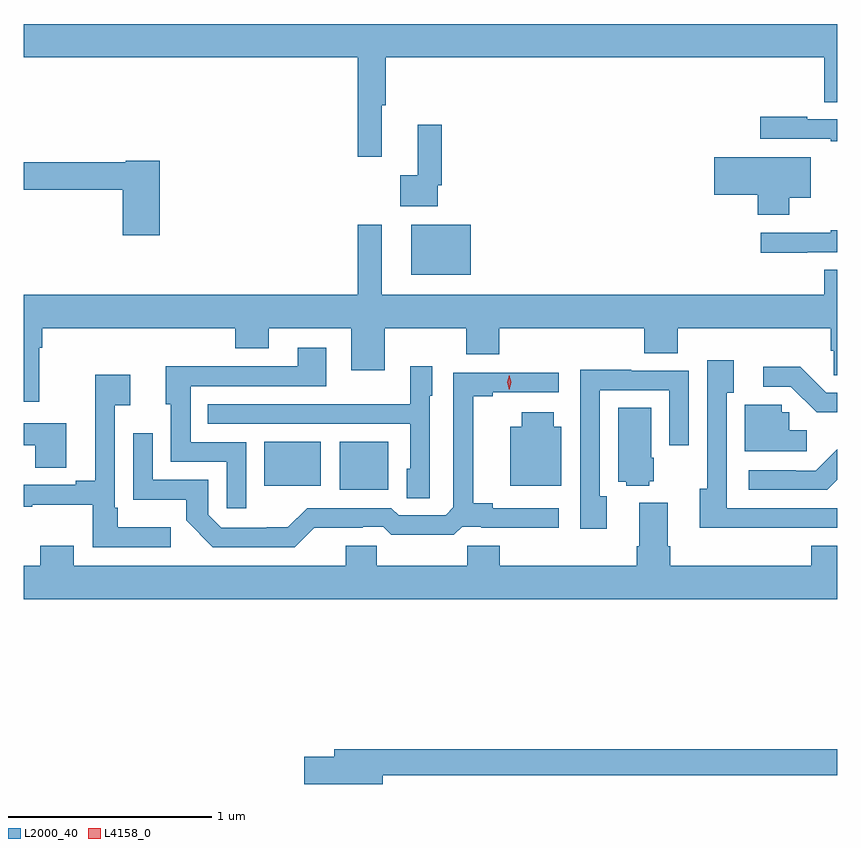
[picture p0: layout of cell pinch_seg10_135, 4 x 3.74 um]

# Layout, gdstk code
import gdstk
lib = gdstk.Library(unit=1e-6, precision=1e-09)
def R(c, l, rs):  # rectangles x0, y0, x1, y1
    for r in rs: c.add(gdstk.rectangle(r[:2], r[2:], *l))
def P(c, l, *ps):  # polygons
    for p in ps: c.add(gdstk.Polygon(p, *l))
L2000_40 = (2000, 40)
L4158_0 = (4158, 0)

pinch_seg10_135 = lib.new_cell('pinch_seg10_135')
R(pinch_seg10_135, L2000_40, [(698.534,1276.877,698.773,1277.113), (698.162,1276.898,698.44,1277.113), (698.885,1277.936,699.178,1278.181)])
P(pinch_seg10_135, L2000_40, [(698.741,1278.768),(698.759,1278.768),(698.759,1279.004),(700.916,1279.004),(700.916,1278.784),(700.98,1278.784),(700.98,1279.168),(696.98,1279.168),(696.98,1279.004),(698.623,1279.004),(698.623,1278.516),(698.741,1278.516)],
  [(700.98,1278.699),(700.832,1278.699),(700.832,1278.712),(700.602,1278.712),(700.602,1278.603),(700.949,1278.603),(700.949,1278.591),(700.98,1278.591)],
  [(699.015,1278.376),(699.035,1278.376),(699.035,1278.673),(698.918,1278.673),(698.918,1278.425),(698.832,1278.425),(698.832,1278.272),(699.015,1278.272)],
  [(700.743,1278.314),(700.849,1278.314),(700.849,1278.514),(700.605,1278.514),(700.605,1278.512),(700.374,1278.512),(700.374,1278.329),(700.589,1278.329),(700.589,1278.23),(700.743,1278.23)],
  [(697.649,1278.496),(697.482,1278.496),(697.482,1278.488),(696.98,1278.488),(696.98,1278.352),(697.466,1278.352),(697.466,1278.129),(697.649,1278.129)],
  [(698.74,1278.181),(698.623,1278.181),(698.623,1277.836),(696.98,1277.836),(696.98,1277.31),(697.057,1277.31),(697.057,1277.576),(697.07,1277.576),(697.07,1277.672),(698.021,1277.672),(698.021,1277.573),(698.185,1277.573),(698.185,1277.672),(698.591,1277.672),(698.591,1277.466),(698.755,1277.466),(698.755,1277.672),(699.155,1277.672),(699.155,1277.544),(699.319,1277.544),(699.319,1277.672),(700.031,1277.672),(700.031,1277.548),(700.196,1277.548),(700.196,1277.672),(700.949,1277.672),(700.949,1277.562),(700.963,1277.562),(700.963,1277.44),(700.98,1277.44),(700.98,1277.96),(700.916,1277.96),(700.916,1277.836),(698.74,1277.836)],
  [(700.832,1278.045),(700.98,1278.045),(700.98,1278.154),(700.949,1278.154),(700.949,1278.141),(700.605,1278.141),(700.605,1278.044),(700.832,1278.044)],
  [(698.073,1277.112),(697.8,1277.112),(697.8,1277.388),(698.467,1277.388),(698.467,1277.575),(698.327,1277.575),(698.327,1277.484),(697.897,1277.484),(697.897,1277.486),(697.679,1277.486),(697.679,1277.298),(697.704,1277.298),(697.704,1277.016),(697.977,1277.016),(697.977,1276.788),(698.073,1276.788)],
  [(700.769,1276.692),(700.98,1276.692),(700.98,1276.788),(700.437,1276.788),(700.437,1277.354),(700.471,1277.354),(700.471,1277.515),(700.341,1277.515),(700.341,1276.882),(700.304,1276.882),(700.304,1276.691),(700.769,1276.691)],
  [(698.976,1277.34),(698.989,1277.34),(698.989,1277.485),(698.88,1277.485),(698.88,1277.299),(698.563,1277.299),(698.563,1277.298),(697.885,1277.298),(697.885,1277.202),(698.88,1277.202),(698.88,1276.98),(698.864,1276.98),(698.864,1276.837),(698.976,1276.837)],
  [(700.98,1277.355),(700.926,1277.355),(700.798,1277.483),(700.617,1277.483),(700.617,1277.385),(700.752,1277.385),(700.879,1277.258),(700.98,1277.258)],
  [(699.847,1276.847),(699.813,1276.847),(699.813,1277.367),(700.155,1277.367),(700.155,1277.097),(700.251,1277.097),(700.251,1277.463),(699.967,1277.463),(699.967,1277.467),(699.717,1277.467),(699.717,1276.686),(699.847,1276.686)],
  [(698.408,1276.691),(698.648,1276.691),(698.648,1276.695),(698.748,1276.695),(698.788,1276.656),(699.095,1276.656),(699.135,1276.695),(699.229,1276.695),(699.229,1276.691),(699.61,1276.691),(699.61,1276.788),(699.286,1276.788),(699.286,1276.811),(699.191,1276.811),(699.191,1277.338),(699.286,1277.338),(699.286,1277.358),(699.61,1277.358),(699.61,1277.454),(699.093,1277.454),(699.093,1276.791),(699.054,1276.752),(698.823,1276.752),(698.787,1276.788),(698.373,1276.788),(698.279,1276.694),(698.174,1276.694),(698.174,1276.692),(697.95,1276.692),(697.887,1276.755),(697.887,1276.926),(697.614,1276.926),(697.614,1277.155),(697.518,1277.155),(697.518,1276.829),(697.78,1276.829),(697.78,1276.727),(697.91,1276.596),(698.313,1276.596)],
  [(697.702,1276.693),(697.441,1276.693),(697.441,1276.789),(697.428,1276.789),(697.428,1277.294),(697.504,1277.294),(697.504,1277.443),(697.331,1277.443),(697.331,1276.921),(697.235,1276.921),(697.235,1276.902),(696.98,1276.902),(696.98,1276.794),(697.021,1276.794),(697.021,1276.805),(697.32,1276.805),(697.32,1276.596),(697.702,1276.596)],
  [(700.831,1277.17),(700.743,1277.17),(700.743,1277.259),(700.707,1277.259),(700.707,1277.295),(700.526,1277.295),(700.526,1277.067),(700.831,1277.067)],
  [(700.056,1276.92),(700.078,1276.92),(700.078,1277.034),(700.066,1277.034),(700.066,1277.282),(699.902,1277.282),(699.902,1276.916),(699.942,1276.916),(699.942,1276.898),(700.056,1276.898)],
  [(699.622,1277.188),(699.586,1277.188),(699.586,1277.26),(699.428,1277.26),(699.428,1277.188),(699.371,1277.188),(699.371,1276.898),(699.622,1276.898)],
  [(697.189,1277.206),(696.98,1277.206),(696.98,1277.096),(697.037,1277.096),(697.037,1276.987),(697.189,1276.987)],
  [(700.98,1276.928),(700.98,1277.076),(700.875,1276.971),(700.775,1276.971),(700.775,1276.974),(700.545,1276.974),(700.545,1276.878),(700.93,1276.878)],
  [(700.98,1276.603),(700.853,1276.603),(700.853,1276.504),(700.16,1276.504),(700.16,1276.6),(700.147,1276.6),(700.147,1276.813),(700.007,1276.813),(700.007,1276.6),(699.995,1276.6),(699.995,1276.504),(699.32,1276.504),(699.32,1276.602),(699.16,1276.602),(699.16,1276.504),(698.715,1276.504),(698.715,1276.602),(698.564,1276.602),(698.564,1276.504),(697.225,1276.504),(697.225,1276.603),(697.061,1276.603),(697.061,1276.504),(696.98,1276.504),(696.98,1276.34),(700.98,1276.34)],
  [(698.746,1275.474),(700.98,1275.474),(700.98,1275.602),(698.507,1275.602),(698.507,1275.566),(698.358,1275.566),(698.358,1275.431),(698.746,1275.431)])
P(pinch_seg10_135, L4158_0, [(699.367,1277.37),(699.367,1277.37),(699.357,1277.406),(699.367,1277.442),(699.367,1277.442),(699.367,1277.442),(699.377,1277.406),(699.367,1277.37)])

lib.write_gds('pinch_seg10_135.gds')
